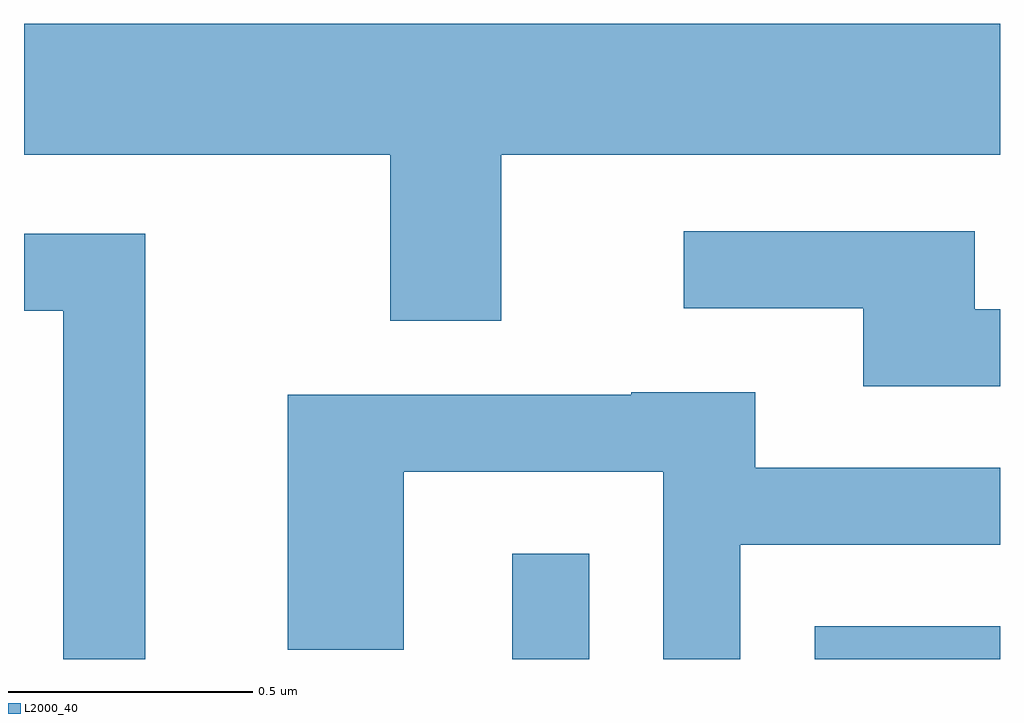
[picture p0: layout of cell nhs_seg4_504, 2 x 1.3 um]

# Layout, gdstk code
import gdstk
lib = gdstk.Library(unit=1e-6, precision=1e-09)
def R(c, l, rs):  # rectangles x0, y0, x1, y1
    for r in rs: c.add(gdstk.rectangle(r[:2], r[2:], *l))
def P(c, l, *ps):  # polygons
    for p in ps: c.add(gdstk.Polygon(p, *l))
L2000_40 = (2000, 40)

nhs_seg4_504 = lib.new_cell('nhs_seg4_504')
R(nhs_seg4_504, L2000_40, [(189.611,1346.982,189.769,1347.198), (190.231,1346.982,190.611,1347.049)])
P(nhs_seg4_504, L2000_40, [(189.589,1348.016),(190.611,1348.016),(190.611,1348.284),(188.611,1348.284),(188.611,1348.016),(189.361,1348.016),(189.361,1347.676),(189.589,1347.676)],
  [(190.611,1347.699),(190.559,1347.699),(190.559,1347.859),(189.963,1347.859),(189.963,1347.701),(190.331,1347.701),(190.331,1347.541),(190.611,1347.541)],
  [(188.859,1347.854),(188.611,1347.854),(188.611,1347.696),(188.691,1347.696),(188.691,1346.982),(188.859,1346.982)],
  [(190.079,1347.216),(190.611,1347.216),(190.611,1347.374),(190.109,1347.374),(190.109,1347.529),(189.855,1347.529),(189.855,1347.524),(189.151,1347.524),(189.151,1347.001),(189.389,1347.001),(189.389,1347.366),(189.921,1347.366),(189.921,1346.982),(190.079,1346.982)])

lib.write_gds('nhs_seg4_504.gds')
